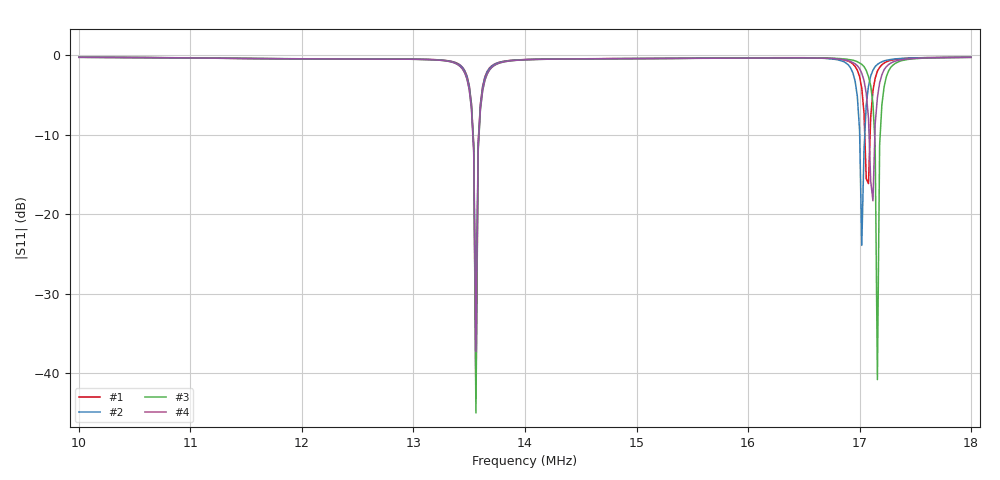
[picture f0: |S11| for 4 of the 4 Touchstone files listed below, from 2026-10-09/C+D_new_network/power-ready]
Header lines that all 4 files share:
! NanoVNA Web complex sweep
! Processing: original sample grid, no browser smoothing
# Hz S RI R 50
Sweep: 10 MHz to 18 MHz
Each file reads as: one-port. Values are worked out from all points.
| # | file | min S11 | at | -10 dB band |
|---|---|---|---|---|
| 1 | AIT_T1.24_L1.44_nanovna-sweep-1791575734311.s1p | -43.3 dB | 13.56 MHz | 48.94 kHz wide |
| 2 | AIT_T1.26_L1.43_nanovna-sweep-1791575668512.s1p | -34.7 dB | 13.56 MHz | 50.22 kHz wide |
| 3 | pre-power_probe_AIT_T1.22_L1.31_nanovna-sweep-1791575953173.s1p | -45.0 dB | 13.56 MHz | 55.03 kHz wide |
| 4 | probe_AIT_T1.23_L1.33_nanovna-sweep-1791575875812.s1p | -37.3 dB | 13.56 MHz | 55.15 kHz wide |
